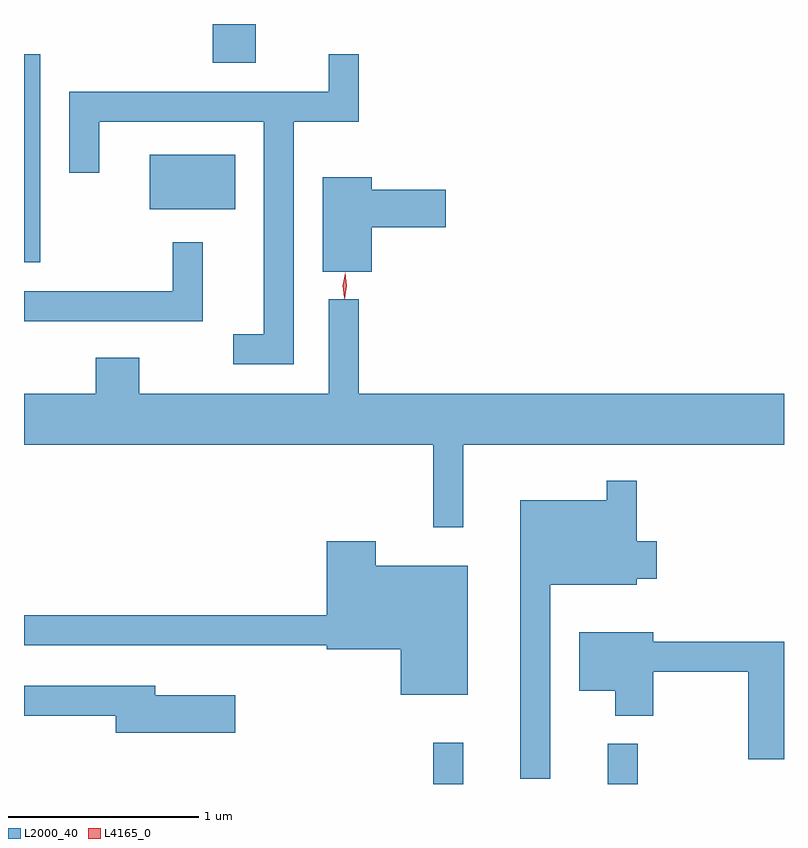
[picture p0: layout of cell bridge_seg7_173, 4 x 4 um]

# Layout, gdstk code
import gdstk
lib = gdstk.Library(unit=1e-6, precision=1e-09)
def R(c, l, rs):  # rectangles x0, y0, x1, y1
    for r in rs: c.add(gdstk.rectangle(r[:2], r[2:], *l))
def P(c, l, *ps):  # polygons
    for p in ps: c.add(gdstk.Polygon(p, *l))
L2000_40 = (2000, 40)
L4165_0 = (4165, 0)

bridge_seg7_173 = lib.new_cell('bridge_seg7_173')
R(bridge_seg7_173, L2000_40, [(1570.396,1685.891,1570.554,1686.108), (1571.316,1685.891,1571.474,1686.103), (1568.243,1688.636,1568.329,1689.733), (1568.906,1688.916,1569.354,1689.204), (1569.236,1689.686,1569.464,1689.891)])
P(bridge_seg7_173, L2000_40, [(1569.664,1689.376),(1570.004,1689.376),(1570.004,1689.733),(1569.846,1689.733),(1569.846,1689.534),(1568.481,1689.534),(1568.481,1689.108),(1568.639,1689.108),(1568.639,1689.376),(1569.506,1689.376),(1569.506,1688.259),(1569.343,1688.259),(1569.343,1688.101),(1569.664,1688.101)],
  [(1570.074,1688.821),(1570.464,1688.821),(1570.464,1689.019),(1570.074,1689.019),(1570.074,1689.084),(1569.816,1689.084),(1569.816,1688.586),(1570.074,1688.586)],
  [(1569.184,1688.743),(1569.026,1688.743),(1569.026,1688.484),(1568.243,1688.484),(1568.243,1688.326),(1569.184,1688.326)],
  [(1570.554,1687.676),(1572.243,1687.676),(1572.243,1687.944),(1570.004,1687.944),(1570.004,1688.443),(1569.846,1688.443),(1569.846,1687.944),(1568.849,1687.944),(1568.849,1688.134),(1568.621,1688.134),(1568.621,1687.944),(1568.243,1687.944),(1568.243,1687.676),(1570.396,1687.676),(1570.396,1687.243),(1570.554,1687.243)],
  [(1571.014,1686.941),(1571.469,1686.941),(1571.469,1686.971),(1571.574,1686.971),(1571.574,1687.169),(1571.469,1687.169),(1571.469,1687.488),(1571.311,1687.488),(1571.311,1687.384),(1570.856,1687.384),(1570.856,1685.918),(1571.014,1685.918)],
  [(1570.579,1687.039),(1570.094,1687.039),(1570.094,1687.169),(1569.836,1687.169),(1569.836,1686.779),(1568.243,1686.779),(1568.243,1686.621),(1569.836,1686.621),(1569.836,1686.601),(1570.226,1686.601),(1570.226,1686.361),(1570.579,1686.361)],
  [(1572.243,1686.639),(1571.554,1686.639),(1571.554,1686.689),(1571.166,1686.689),(1571.166,1686.381),(1571.356,1686.381),(1571.356,1686.251),(1571.554,1686.251),(1571.554,1686.481),(1572.056,1686.481),(1572.056,1686.021),(1572.243,1686.021)],
  [(1569.354,1686.359),(1568.934,1686.359),(1568.934,1686.409),(1568.243,1686.409),(1568.243,1686.251),(1568.726,1686.251),(1568.726,1686.161),(1569.354,1686.161)])
P(bridge_seg7_173, L4165_0, [(1569.93,1688.445),(1569.922,1688.514),(1569.933,1688.582),(1569.933,1688.582),(1569.934,1688.582),(1569.942,1688.513),(1569.931,1688.445),(1569.931,1688.445)],
  [(1569.928,1688.448),(1569.928,1688.449),(1569.921,1688.514),(1569.933,1688.579),(1569.934,1688.579),(1569.934,1688.579),(1569.941,1688.513),(1569.929,1688.449)])

lib.write_gds('bridge_seg7_173.gds')
